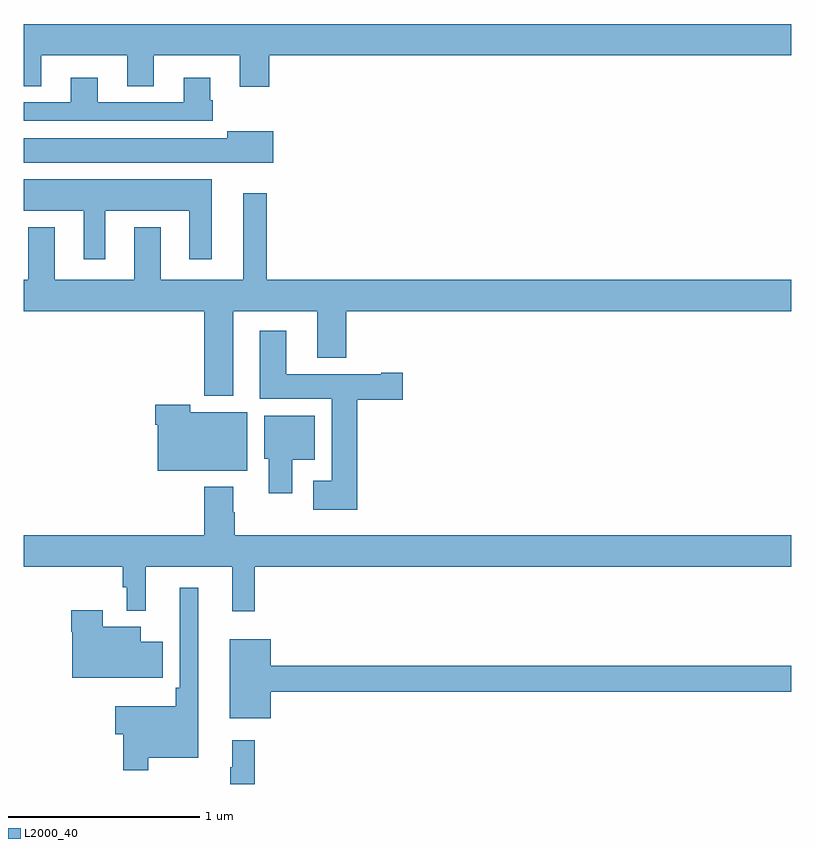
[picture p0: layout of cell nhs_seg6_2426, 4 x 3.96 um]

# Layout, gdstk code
import gdstk
lib = gdstk.Library(unit=1e-6, precision=1e-09)
def P(c, l, *ps):  # polygons
    for p in ps: c.add(gdstk.Polygon(p, *l))
L2000_40 = (2000, 40)

nhs_seg6_2426 = lib.new_cell('nhs_seg6_2426')
P(nhs_seg6_2426, L2000_40, [(256.279,987.296),(259,987.296),(259,987.46),(255,987.46),(255,987.136),(255.091,987.136),(255.091,987.296),(255.539,987.296),(255.539,987.136),(255.679,987.136),(255.679,987.296),(256.127,987.296),(256.127,987.132),(256.279,987.132)],
  [(255.986,987.063),(255.973,987.063),(255.973,987.181),(255.833,987.181),(255.833,987.051),(255.385,987.051),(255.385,987.181),(255.245,987.181),(255.245,987.051),(255,987.051),(255,986.955),(255.986,986.955)],
  [(256.3,986.902),(256.061,986.902),(256.061,986.866),(255,986.866),(255,986.738),(256.3,986.738)],
  [(255.424,986.486),(255.863,986.486),(255.863,986.235),(255.979,986.235),(255.979,986.65),(255,986.65),(255,986.486),(255.314,986.486),(255.314,986.235),(255.424,986.235)],
  [(256.093,985.964),(256.529,985.964),(256.529,985.721),(256.682,985.721),(256.682,985.964),(259,985.964),(259,986.128),(256.267,986.128),(256.267,986.578),(256.145,986.578),(256.145,986.128),(255.715,986.128),(255.715,986.401),(255.575,986.401),(255.575,986.128),(255.163,986.128),(255.163,986.401),(255.023,986.401),(255.023,986.128),(255,986.128),(255,985.964),(255.941,985.964),(255.941,985.523),(256.093,985.523)],
  [(256.739,985.502),(256.975,985.502),(256.975,985.644),(256.862,985.644),(256.862,985.636),(256.369,985.636),(256.369,985.861),(256.229,985.861),(256.229,985.508),(256.604,985.508),(256.604,985.081),(256.509,985.081),(256.509,984.929),(256.739,984.929)],
  [(256.165,985.438),(255.869,985.438),(255.869,985.477),(255.686,985.477),(255.686,985.373),(255.698,985.373),(255.698,985.133),(256.165,985.133)],
  [(256.399,985.19),(256.516,985.19),(256.516,985.42),(256.253,985.42),(256.253,985.194),(256.277,985.194),(256.277,985.014),(256.399,985.014)],
  [(256.205,984.632),(259,984.632),(259,984.796),(256.101,984.796),(256.101,984.917),(256.093,984.917),(256.093,985.048),(255.941,985.048),(255.941,984.796),(255,984.796),(255,984.632),(255.517,984.632),(255.517,984.525),(255.537,984.525),(255.537,984.404),(255.635,984.404),(255.635,984.632),(256.088,984.632),(256.088,984.399),(256.205,984.399)],
  [(255.649,983.636),(255.91,983.636),(255.91,984.523),(255.813,984.523),(255.813,984.001),(255.793,984.001),(255.793,983.905),(255.476,983.905),(255.476,983.758),(255.52,983.758),(255.52,983.571),(255.649,983.571)],
  [(255.724,984.241),(255.61,984.241),(255.61,984.319),(255.412,984.319),(255.412,984.406),(255.247,984.406),(255.247,984.293),(255.254,984.293),(255.254,984.053),(255.724,984.053)],
  [(256.288,983.98),(259,983.98),(259,984.116),(256.288,984.116),(256.288,984.253),(256.073,984.253),(256.073,983.843),(256.288,983.843)],
  [(256.205,983.728),(256.088,983.728),(256.088,983.588),(256.077,983.588),(256.077,983.5),(256.205,983.5)])

lib.write_gds('nhs_seg6_2426.gds')
